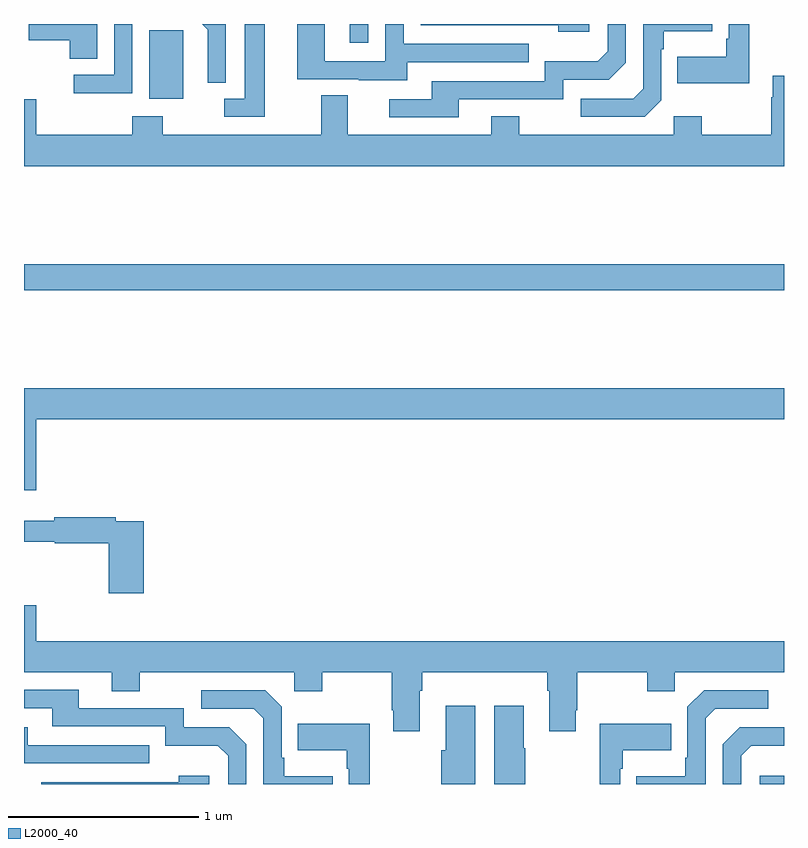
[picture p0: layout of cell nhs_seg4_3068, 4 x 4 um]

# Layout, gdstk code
import gdstk
lib = gdstk.Library(unit=1e-6, precision=1e-09)
def R(c, l, rs):  # rectangles x0, y0, x1, y1
    for r in rs: c.add(gdstk.rectangle(r[:2], r[2:], *l))
def P(c, l, *ps):  # polygons
    for p in ps: c.add(gdstk.Polygon(p, *l))
L2000_40 = (2000, 40)

nhs_seg4_3068 = lib.new_cell('nhs_seg4_3068')
R(nhs_seg4_3068, L2000_40, [(276.873,794.9,277,794.944), (273,797.5,277,797.636), (273.659,798.506,273.838,798.867), (274.715,798.801,274.812,798.9)])
P(nhs_seg4_3068, L2000_40, [(274.267,798.9),(274.163,798.9),(274.163,798.507),(274.053,798.507),(274.053,798.411),(274.267,798.411)],
  [(275.017,798.699),(275.657,798.699),(275.657,798.795),(274.998,798.795),(274.998,798.9),(274.902,798.9),(274.902,798.705),(274.584,798.705),(274.584,798.9),(274.439,798.9),(274.439,798.609),(274.763,798.609),(274.763,798.605),(275.017,798.605)],
  [(275.287,798.504),(275.838,798.504),(275.838,798.606),(276.078,798.606),(276.168,798.696),(276.168,798.9),(276.072,798.9),(276.072,798.756),(276.019,798.703),(275.742,798.703),(275.742,798.6),(275.147,798.6),(275.147,798.504),(274.923,798.504),(274.923,798.408),(275.287,798.408)],
  [(275.974,798.9),(275.088,798.9),(275.088,798.894),(275.813,798.894),(275.813,798.86),(275.974,798.86)],
  [(274.062,798.9),(273.937,798.9),(273.968,798.869),(273.968,798.746),(273.966,798.746),(273.966,798.592),(274.062,798.592)],
  [(273.57,798.9),(273.474,798.9),(273.474,798.633),(273.261,798.633),(273.261,798.535),(273.57,798.535)],
  [(276.354,798.498),(276.354,798.767),(276.367,798.767),(276.367,798.863),(276.623,798.863),(276.623,798.9),(276.258,798.9),(276.258,798.558),(276.207,798.507),(275.931,798.507),(275.931,798.411),(276.267,798.411)],
  [(276.817,798.9),(276.708,798.9),(276.708,798.823),(276.696,798.823),(276.696,798.727),(276.439,798.727),(276.439,798.587),(276.817,798.587)],
  [(273.385,798.9),(273.024,798.9),(273.024,798.814),(273.242,798.814),(273.242,798.718),(273.385,798.718)],
  [(277,798.628),(276.941,798.628),(276.941,798.515),(276.934,798.515),(276.934,798.316),(276.567,798.316),(276.567,798.415),(276.42,798.415),(276.42,798.316),(275.607,798.316),(275.607,798.415),(275.459,798.415),(275.459,798.316),(274.705,798.316),(274.705,798.524),(274.565,798.524),(274.565,798.316),(273.729,798.316),(273.729,798.415),(273.569,798.415),(273.569,798.316),(273.064,798.316),(273.064,798.505),(273,798.505),(273,798.152),(277,798.152)],
  [(273.064,796.82),(277,796.82),(277,796.984),(273,796.984),(273,796.446),(273.064,796.446)],
  [(273.629,796.284),(273.482,796.284),(273.482,796.304),(273.16,796.304),(273.16,796.285),(273,796.285),(273,796.176),(273.162,796.176),(273.162,796.168),(273.446,796.168),(273.446,795.903),(273.629,795.903)],
  [(275.083,795.392),(275.096,795.392),(275.096,795.488),(275.753,795.488),(275.753,795.392),(275.765,795.392),(275.765,795.177),(275.905,795.177),(275.905,795.289),(275.913,795.289),(275.913,795.488),(276.28,795.488),(276.28,795.389),(276.426,795.389),(276.426,795.488),(277,795.488),(277,795.652),(273.064,795.652),(273.064,795.841),(273,795.841),(273,795.488),(273.461,795.488),(273.461,795.389),(273.609,795.389),(273.609,795.488),(274.422,795.488),(274.422,795.389),(274.569,795.389),(274.569,795.488),(274.936,795.488),(274.936,795.289),(274.943,795.289),(274.943,795.177),(275.083,795.177)],
  [(274.17,795.108),(274.08,795.198),(273.84,795.198),(273.84,795.3),(273.289,795.3),(273.289,795.396),(273,795.396),(273,795.3),(273.149,795.3),(273.149,795.204),(273.744,795.204),(273.744,795.101),(274.021,795.101),(274.074,795.048),(274.074,794.9),(274.17,794.9)],
  [(274.625,794.941),(274.369,794.941),(274.369,795.037),(274.356,795.037),(274.356,795.306),(274.269,795.393),(273.933,795.393),(273.933,795.297),(274.209,795.297),(274.26,795.246),(274.26,794.9),(274.625,794.9)],
  [(276.588,795.246),(276.639,795.297),(276.916,795.297),(276.916,795.393),(276.579,795.393),(276.492,795.306),(276.492,795.037),(276.48,795.037),(276.48,794.941),(276.223,794.941),(276.223,794.9),(276.588,794.9)],
  [(275.374,795.313),(275.219,795.313),(275.219,795.078),(275.195,795.078),(275.195,794.9),(275.374,794.9)],
  [(275.637,795.089),(275.629,795.089),(275.629,795.313),(275.474,795.313),(275.474,794.9),(275.637,794.9)],
  [(276.138,794.981),(276.151,794.981),(276.151,795.077),(276.407,795.077),(276.407,795.217),(276.03,795.217),(276.03,794.9),(276.138,794.9)],
  [(274.819,795.217),(274.441,795.217),(274.441,795.077),(274.698,795.077),(274.698,794.981),(274.71,794.981),(274.71,794.9),(274.819,794.9)],
  [(273.659,795.105),(273.019,795.105),(273.019,795.199),(273,795.199),(273,795.009),(273.659,795.009)],
  [(276.774,795.048),(276.827,795.101),(277,795.101),(277,795.198),(276.768,795.198),(276.678,795.108),(276.678,794.9),(276.774,794.9)],
  [(273.976,794.944),(273.815,794.944),(273.815,794.91),(273.09,794.91),(273.09,794.9),(273.976,794.9)])

lib.write_gds('nhs_seg4_3068.gds')
